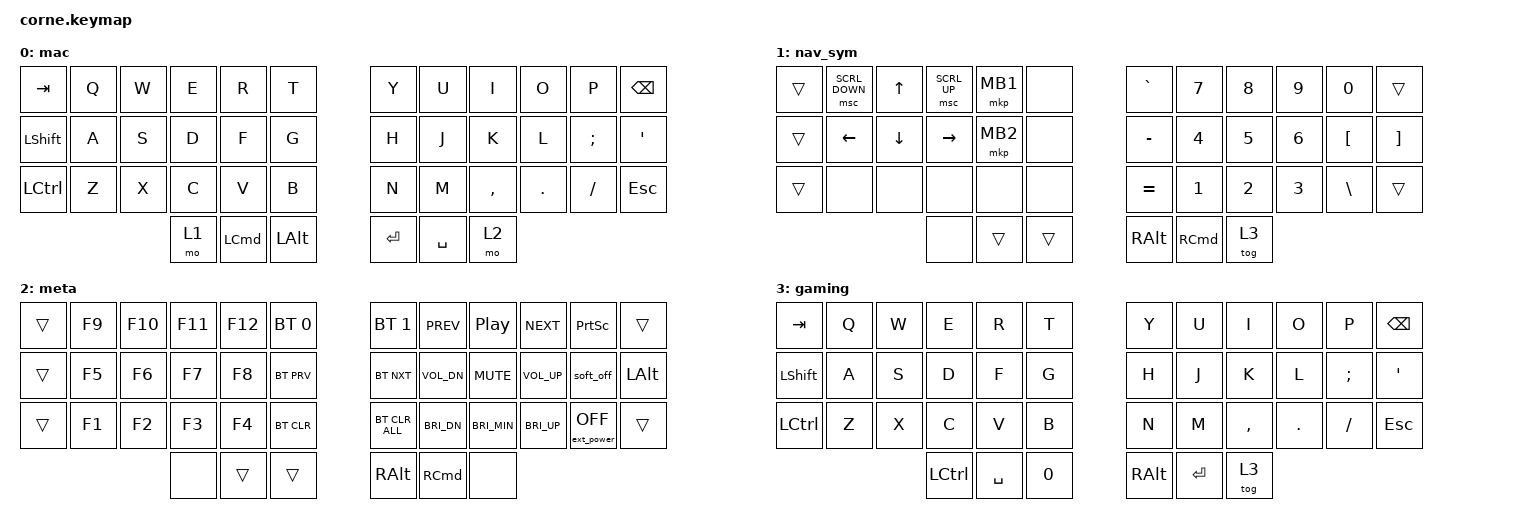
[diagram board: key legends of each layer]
/*
 * Copyright (c) 2020 The ZMK Contributors
 *
 * SPDX-License-Identifier: MIT
 */

#include <behaviors.dtsi>
#include <dt-bindings/zmk/bt.h>
#include <dt-bindings/zmk/ext_power.h>
#include <dt-bindings/zmk/keys.h>
#include <dt-bindings/zmk/pointing.h>

/ {
    keymap {
        compatible = "zmk,keymap";

        mac {
            // -----------------------------------------------------------------------------------------
            // |  TAB |  Q  |  W  |  E  |  R  |  T  |   |  Y  |  U   |  I  |  O  |  P  | BSPC |
            // | CTRL |  A  |  S  |  D  |  F  |  G  |   |  H  |  J   |  K  |  L  |  ;  |  '   |
            // | SHFT |  Z  |  X  |  C  |  V  |  B  |   |  N  |  M   |  ,  |  .  |  /  | ESC  |
            //                    | GUI | LWR | SPC |   | ENT | RSE  | ALT |

            bindings = <
&kp TAB    &kp Q  &kp W  &kp E  &kp R     &kp T       &kp Y      &kp U      &kp I      &kp O    &kp P     &kp BSPC
&kp LSHFT  &kp A  &kp S  &kp D  &kp F     &kp G       &kp H      &kp J      &kp K      &kp L    &kp SEMI  &kp SQT
&kp LCTRL  &kp Z  &kp X  &kp C  &kp V     &kp B       &kp N      &kp M      &kp COMMA  &kp DOT  &kp FSLH  &kp ESC
                         &mo 1  &kp LCMD  &kp LALT    &kp ENTER  &kp SPACE  &mo 2
            >;
        };

        nav_sym {
            bindings = <
&trans  &msc SCRL_DOWN  &kp UP    &msc SCRL_UP  &mkp MB1  &none     &kp GRAVE  &kp N7    &kp N8  &kp N9  &kp N0    &trans
&trans  &kp LEFT        &kp DOWN  &kp RIGHT     &mkp MB2  &none     &kp MINUS  &kp N4    &kp N5  &kp N6  &kp LBKT  &kp RBKT
&trans  &none           &none     &none         &none     &none     &kp EQUAL  &kp N1    &kp N2  &kp N3  &kp BSLH  &trans
                                  &none         &trans    &trans    &kp RALT   &kp RCMD  &tog 3
            >;
        };

        meta {
            bindings = <
&trans  &kp F9  &kp F10  &kp F11  &kp F12  &bt BT_SEL 0    &bt BT_SEL 1    &kp C_PREV    &kp C_PP       &kp C_NEXT    &kp PRINTSCREEN    &trans
&trans  &kp F5  &kp F6   &kp F7   &kp F8   &bt BT_PRV      &bt BT_NXT      &kp C_VOL_DN  &kp C_MUTE     &kp C_VOL_UP  &soft_off          &kp LALT
&trans  &kp F1  &kp F2   &kp F3   &kp F4   &bt BT_CLR      &bt BT_CLR_ALL  &kp C_BRI_DN  &kp C_BRI_MIN  &kp C_BRI_UP  &ext_power EP_OFF  &trans
                         &none    &trans   &trans          &kp RALT        &kp RCMD      &none
            >;
        };

        gaming {
            bindings = <
&kp TAB    &kp Q  &kp W  &kp E      &kp R      &kp T     &kp Y     &kp U    &kp I      &kp O    &kp P     &kp BSPC
&kp LSHFT  &kp A  &kp S  &kp D      &kp F      &kp G     &kp H     &kp J    &kp K      &kp L    &kp SEMI  &kp SQT
&kp LCTRL  &kp Z  &kp X  &kp C      &kp V      &kp B     &kp N     &kp M    &kp COMMA  &kp DOT  &kp FSLH  &kp ESC
                         &kp LCTRL  &kp SPACE  &kp N0    &kp RALT  &kp RET  &tog 3
            >;
        };
    };
};
